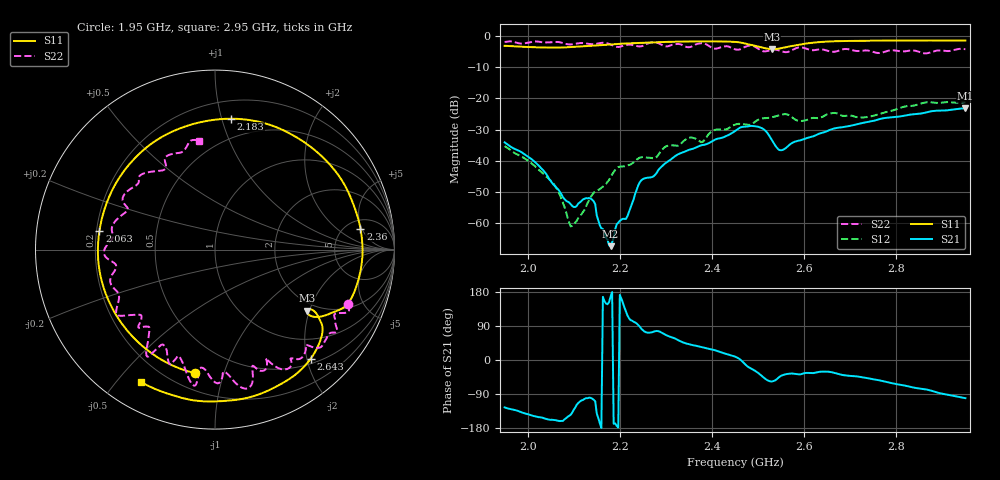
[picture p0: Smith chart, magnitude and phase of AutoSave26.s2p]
!Agilent N9923A: A.07.32
!Date: Wednesday, 01 June 2016 23:35:15
!Model: N9923A
!Serial: MY52412257
!GPS Latitude:
!GPS Longitude:
!GPS TimeStamp: 0001-01-01 00:00:00Z
!GPS Seconds Since Last Read: 0
!CHECKSUM:0676958425
!Correction: S11(ON U)S21(ON U)S12(ON U)S22(ON U)
!S2P File: Measurements:S11,S21,S12,S22:
# Hz S DB R 50
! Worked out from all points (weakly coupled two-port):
!   301 points, 1.95 GHz to 2.95 GHz, reference 50 ohm
!   highest |S21| = -23.14 dB at 2.95 GHz (marker M1); lowest = -67.3 dB at 2.18 GHz (marker M2)
!   lowest |S11| = -4.2 dB at 2.53 GHz (marker M3), VSWR 4.20, Z = 88.2 - j96.4 ohm
!   |S11| at or under -10 dB: nowhere
!   |S22| runs from -5.6 to -1.7 dB; largest |S21 - S12| = 0.058
!   S11 on the Smith chart (normalised r, x): 1.95 GHz: 0.30, -0.81; 2.063 GHz: 0.21, +0.08; 2.183 GHz: 0.34, +1.07; 2.36 GHz: 6.64, +4.72; 2.643 GHz: 0.59, -2.07; 2.95 GHz: 0.11, -0.58
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1.95e9  -3.13 -99.2  -34.05 -125.1  -35.26 -115.4  -1.94 -22.4
2.013333e9  -3.60 -147.1  -40.01 -148.0  -41.34 -144.9  -1.77 -33.4
2.063333e9  -3.71 170.8  -48.74 -159.6  -48.88 -166.9  -1.91 -42.0
2.093333e9  -3.54 145.6  -53.82 -144.6  -60.94 152.2  -2.70 -46.6
2.12e9  -3.30 124.9  -52.32 -105.7  -56.34 83.0  -2.26 -52.1
2.143333e9  -3.09 108.3  -52.94 -104.8  -50.14 45.2  -2.62 -55.4
2.156667e9  -2.96 99.3  -60.58 -167.1  -48.99 50.4  -2.26 -56.5
2.18e9  -2.71 84.8  -67.28 167.2  -45.13 36.4  -2.74 -62.8
2.183333e9  -2.68 82.9  -65.99 179.4  -44.33 33.0  -2.95 -63.5
2.193333e9  -2.57 77.3  -60.28 -173.9  -42.41 25.7  -3.47 -64.9
2.213333e9  -2.40 66.8  -58.56 128.3  -41.57 31.1  -2.87 -66.5
2.243333e9  -2.21 52.4  -46.81 88.0  -38.91 20.7  -3.35 -72.0
2.286667e9  -1.95 34.2  -42.41 74.8  -37.36 21.4  -2.49 -81.3
2.36e9  -1.74 8.2  -36.03 38.7  -32.64 1.7  -3.07 -97.4
2.453333e9  -1.93 -21.6  -30.09 7.2  -28.23 -29.3  -4.36 -117.7
2.5e9  -3.33 -33.4  -29.05 -33.9  -26.83 -44.0  -4.04 -126.4
2.53e9  -4.22 -33.5  -33.37 -56.6  -25.99 -59.6  -4.44 -133.6
2.55e9  -3.91 -31.8  -36.59 -41.6  -25.27 -72.7  -4.85 -136.1
2.62e9  -2.13 -42.2  -32.10 -34.6  -26.21 -79.8  -4.56 -156.0
2.643333e9  -1.85 -48.7  -30.82 -30.6  -25.58 -80.7  -4.41 -165.0
2.783333e9  -1.46 -81.9  -26.12 -59.3  -24.17 -88.3  -4.68 151.9
2.95e9  -1.46 -119.3  -23.14 -100.7  -21.16 -135.8  -4.24 98.3
